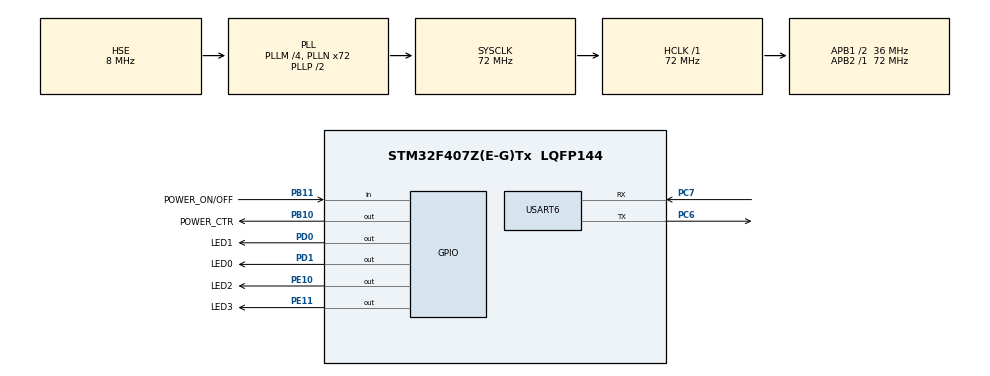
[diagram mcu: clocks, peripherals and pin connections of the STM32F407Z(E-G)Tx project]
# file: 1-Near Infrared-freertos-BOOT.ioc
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FREERTOS.Tasks01=LED_Task,-3,128,Start_LED_Task,Default,NULL,Dynamic,NULL,NULL;PWR_Task,0,128,Start_PWR_Task,Default,NULL,Dynamic,NULL,NULL;BOOT_Task,-1,128,Start_BOOT_Task,Default,NULL,Dynamic,NULL,NULL
Mcu.Family=STM32F4
Mcu.Name=STM32F407Z(E-G)Tx
Mcu.Package=LQFP144
NVIC.PriorityGroup=NVIC_PRIORITYGROUP_4
NVIC.TIM7_IRQn=true\:15\:0\:false\:false\:true\:false\:false\:true
NVIC.TimeBase=TIM7_IRQn
NVIC.TimeBaseIP=TIM7
NVIC.USART6_IRQn=true\:5\:0\:true\:false\:true\:true\:true\:true
PA13.Mode=Serial_Wire
PA13.Signal=SYS_JTMS-SWDIO
PA14.Mode=Serial_Wire
PA14.Signal=SYS_JTCK-SWCLK
PB10.GPIO_Label=POWER_CTR
PB10.GPIO_PuPd=GPIO_PULLDOWN
PB10.GPIO_Speed=GPIO_SPEED_FREQ_HIGH
PB10.PinState=GPIO_PIN_RESET
PB10.Signal=GPIO_Output
PB11.GPIO_Label=POWER_ON/OFF
PB11.GPIO_PuPd=GPIO_PULLUP
PB11.Signal=GPIO_Input
PC6.Mode=Asynchronous
PC6.Signal=USART6_TX
PC7.Mode=Asynchronous
PC7.Signal=USART6_RX
PD0.GPIO_Label=LED1
PD0.GPIO_PuPd=GPIO_PULLUP
PD0.GPIO_Speed=GPIO_SPEED_FREQ_HIGH
PD0.PinState=GPIO_PIN_SET
PD0.Signal=GPIO_Output
PD1.GPIO_Label=LED0
PD1.GPIO_PuPd=GPIO_PULLUP
PD1.GPIO_Speed=GPIO_SPEED_FREQ_HIGH
PD1.PinState=GPIO_PIN_SET
PD1.Signal=GPIO_Output
PE10.GPIO_Label=LED2
PE10.GPIO_PuPd=GPIO_PULLUP
PE10.GPIO_Speed=GPIO_SPEED_FREQ_HIGH
PE10.PinState=GPIO_PIN_SET
PE10.Signal=GPIO_Output
PE11.GPIO_Label=LED3
PE11.GPIO_PuPd=GPIO_PULLUP
PE11.GPIO_Speed=GPIO_SPEED_FREQ_HIGH
PE11.PinState=GPIO_PIN_SET
PE11.Signal=GPIO_Output
PH0-OSC_IN.Mode=HSE-External-Oscillator
PH0-OSC_IN.Signal=RCC_OSC_IN
PH1-OSC_OUT.Mode=HSE-External-Oscillator
PH1-OSC_OUT.Signal=RCC_OSC_OUT
ProjectManager.HeapSize=0x200
ProjectManager.StackSize=0x400
ProjectManager.TargetToolchain=MDK-ARM V5.32
RCC.48MHZClocksFreq_Value=36000000
RCC.AHBFreq_Value=72000000
RCC.APB1CLKDivider=RCC_HCLK_DIV2
RCC.APB1Freq_Value=36000000
RCC.APB1TimFreq_Value=72000000
RCC.APB2Freq_Value=72000000
RCC.APB2TimFreq_Value=72000000
RCC.CortexFreq_Value=72000000
RCC.HCLKFreq_Value=72000000
RCC.HSE_VALUE=8000000
RCC.HSI_VALUE=16000000
RCC.LSE_VALUE=32768
RCC.PLLM=4
RCC.PLLN=72
RCC.PLLSourceVirtual=RCC_PLLSOURCE_HSE
RCC.SYSCLKFreq_VALUE=72000000
RCC.SYSCLKSource=RCC_SYSCLKSOURCE_PLLCLK
RCC.VCOOutputFreq_Value=144000000
USART6.VirtualMode=VM_ASYNC
VP_FREERTOS_VS_CMSIS_V1.Mode=CMSIS_V1
VP_SYS_VS_tim7.Mode=TIM7
board=custom

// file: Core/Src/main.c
/* USER CODE BEGIN Header */
/**
  ******************************************************************************
  * @file           : main.c
  * @brief          : Main program body
  ******************************************************************************
  * @attention
  *
  * Copyright (c) 2024 STMicroelectronics.
  * All rights reserved.
  *
  * This software is licensed under terms that can be found in the LICENSE file
  * in the root directory of this software component.
  * If no LICENSE file comes with this software, it is provided AS-IS.
  *
  ******************************************************************************
  */
/* USER CODE END Header */
#include "main.h"
#include "cmsis_os.h"
#include "usart.h"
#include "gpio.h"

/* USER CODE BEGIN Includes */
#include <string.h>
#include <stdio.h>
#include "sys.h"

/* USER CODE END Includes */

void SystemClock_Config(void);
void MX_FREERTOS_Init(void);

/* USER CODE BEGIN 0 */

#define NVIC_VectTab_RAM             ((uint32_t)0x20000000)
#define NVIC_VectTab_FLASH           ((uint32_t)0x08000000)				//NVIC_VectTab_FLASH定义的是flash的起始地址；
#define BOOT_SIZE							0x5000						//正好对应着第一个扇区开始擦除。
#define ApplicationAddress	0x08005000

#define USER_FLASH_PAGES	2      //user app flash is 52 PAGE      两个扇区

#define FLASH_USER_END_ADDR    ADDR_FLASH_SECTOR_3

#define	erasure_CMD	"era flash"

typedef  void (*iapfun)(void);
iapfun jump2app;

unsigned int count2 = 0;
unsigned char datatemp[256] = {0};
unsigned char boot_flag = 0;
unsigned char time_out_flag = 0;
extern uint8_t ch;

#define ADDR_FLASH_SECTOR_0     ((uint32_t)0x08000000) /* Base address of Sector 0, 16 Kbytes   */
#define ADDR_FLASH_SECTOR_1     ((uint32_t)0x08004000) /* Base address of Sector 1, 16 Kbytes   */
#define ADDR_FLASH_SECTOR_2     ((uint32_t)0x08008000) /* Base address of Sector 2, 16 Kbytes   */
#define ADDR_FLASH_SECTOR_3     ((uint32_t)0x0800C000) /* Base address of Sector 3, 16 Kbytes   */
#define ADDR_FLASH_SECTOR_4     ((uint32_t)0x08010000) /* Base address of Sector 4, 64 Kbytes   */
#define ADDR_FLASH_SECTOR_5     ((uint32_t)0x08020000) /* Base address of Sector 5, 128 Kbytes  */
#define ADDR_FLASH_SECTOR_6     ((uint32_t)0x08040000) /* Base address of Sector 6, 128 Kbytes  */
#define ADDR_FLASH_SECTOR_7     ((uint32_t)0x08060000) /* Base address of Sector 7, 128 Kbytes  */

/* USER CODE END 0 */

int main(void)
{
    /* USER CODE BEGIN 1 */
	unsigned char i;

    /* USER CODE END 1 */

    /* MCU Configuration--------------------------------------------------------*/

    /* Reset of all peripherals, Initializes the Flash interface and the Systick. */
    HAL_Init();

    /* Configure the system clock */
    SystemClock_Config();

    /* Initialize all configured peripherals */
    MX_GPIO_Init();
    MX_USART6_UART_Init();
    /* USER CODE BEGIN 2 */
    HAL_GPIO_WritePin(POWER_CTR_GPIO_Port,POWER_CTR_Pin,GPIO_PIN_SET);//上电把电源的控制角拉高。
    printf("boot start\r\n");
    printf("input \"era flash\" to erasure user flash, or wait 10s to start user app\r\n");
    HAL_Delay(500);//延迟个500Ms进入freertos系统中。

	for(i = 0; i<10; i++)
    {
        HAL_UART_Receive(&huart6, datatemp, 256, 1000);
//		WRITE_REG(huart6.Instance->DR,datatemp);
//		HAL_UART_Transmit(&huart6, datatemp, 256, 1000);

        // every second to find if receive erasure_CMD

        if(strstr((const char *)datatemp, erasure_CMD) != NULL)
        {
			printf("%s",datatemp);
			printf("准备擦除芯片的内部flash中。。。");
            // erase flash
            FLASH_EraseInitTypeDef EraseInitStruct;
            unsigned int PageError = 0;

            HAL_FLASH_Unlock();

            EraseInitStruct.TypeErase = FLASH_TYPEERASE_SECTORS;
            EraseInitStruct.Sector = 1;//开始的扇区
            EraseInitStruct.NbSectors = USER_FLASH_PAGES;//几个扇区
            EraseInitStruct.VoltageRange = FLASH_VOLTAGE_RANGE_3;
            if(HAL_FLASHEx_Erase(&EraseInitStruct, &PageError) != HAL_OK)
            {
                HAL_FLASH_Lock();
                printf("Erase fail at:0x%x\n\r",PageError);
//                return 0;
            }
            HAL_FLASH_Lock();
            boot_flag = 1;
            printf("Erase OK\n\r");
            break;
        }
    }

    if(boot_flag == 1)
    {
        HAL_StatusTypeDef	temp;
        unsigned int Address;
        unsigned int data_32;
        unsigned char j = 0;
        printf("ready to receive bin, please send in 30s\n\r");
        Address = ApplicationAddress;
        temp = HAL_UART_Receive(&huart6, datatemp, 256, 30*1000);
        if(temp == HAL_TIMEOUT)
        {
            printf("time out, end wait to receive bin\n\r");
//            return 0;
        }
        else if(temp == HAL_OK)
        {
            while(1) // wait data and write, if time out tow times, break;
            {
                unsigned char i;
                HAL_FLASH_Unlock();
                for(i=0; i<64; i++)
                {
                    data_32 = *(unsigned int *)(&datatemp[i<<2]);
                    if(Address < FLASH_USER_END_ADDR)
                    {
                        if(HAL_FLASH_Program(FLASH_TYPEPROGRAM_WORD, Address, data_32)==HAL_OK)
                        {
                            Address = Address + 4;
                        }
                        else
                        {
                            HAL_FLASH_Lock();
                            printf("write fail at: 0x%x\n\r", Address);
//                            return 0;
                        }
                    }
                }
                HAL_FLASH_Lock();
                printf("write 256 btye OK: 0x%x\t%d\n\r",Address,j++);

                temp = HAL_UART_Receive(&huart6, datatemp, 256, 2*1000);
                if(temp == HAL_TIMEOUT)
                {
                    time_out_flag++;
                    if(time_out_flag == 2)
                    {
                        printf("End write OK\n\r");
//						HAL_NVIC_SystemReset();
                        goto START_APP;

                        //return 0;
                    }
                }
            }
        }
    }

    else if(boot_flag == 0)  //start user app
    {
		START_APP:
        printf("start user app\n\r");
//        HAL_Delay(10);

        if(((*(unsigned int *)ApplicationAddress)&0x2FFE0000)==0x20000000)
        {
//            __set_PRIMASK(1);
//            __ASM("CPSID  I"); // disable irq, if use this, must enable irq at app
////            __disable_irq();
////			SysTick->CTRL = 0X00;//禁止SysTick
////			SysTick->LOAD = 0;
////			SysTick->VAL = 0;
//			__disable_irq();

//			__set_PRIMASK(1);    /*关闭全局中断，APP程序中带有RTOS时，这个很重要*/

			/* 关闭滴答时钟，复位*/
//			SysTick->CTRL = 0;
//			SysTick->LOAD = 0;
//			SysTick->VAL = 0;
//			HAL_SuspendTick();        // 挂起滴答定时器
			/* 设置所以时钟默认状态 */
//			HAL_RCC_DeInit();

			/* 关闭所有中断，清除中断挂起标志 */
//			for (i = 0; i < 8; i++)
//			{
//				NVIC->ICER[i]=0xFFFFFFFF;
//				NVIC->ICPR[i]=0xFFFFFFFF;
//			}
//			HAL_UART_DeInit(&huart1);
//			HAL_UART_DeInit(&huart6);
//			HAL_SuspendTick();

//			HAL_RCC_DeInit();
//			__set_FAULTMASK(1);
//			INTX_DISABLE();
	   /* 在 RTOS 工程，这条语句很重要，设置为特权级模式，使用 MSP 指针 */
//			__set_CONTROL(0);

//            jump2app=(iapfun)*(unsigned int *)(ApplicationAddress+4);
            // user app addr's second word store the app start addr
//            __set_MSP(*(unsigned int *)ApplicationAddress);
            //user app addr's first word store the SP addr
//			printf("开始跳转APP\n\r");
//			__disable_irq();

//            jump2app();									// run user app
//			printf("跳转完成\n\r");

//			SysTick->CTRL = 0X00;//禁止SysTick
//			SysTick->LOAD = 0;
//			SysTick->VAL = 0;
//			__disable_irq();

				uint32_t i=0;
				void (*SysMemBootJump)(void);        /* 声明一个函数指针 */
				__IO uint32_t BootAddr = 0x08005000;  /* APP 地址 */

//				__set_PRIMASK(1);	/* 禁止全局中断 */

				/* 关闭滴答定时器，复位到默认值 */
				SysTick->CTRL = 0;
				SysTick->LOAD = 0;
				SysTick->VAL = 0;
				/* 设置所有时钟到默认状态，使用HSI时钟 */
				HAL_RCC_DeInit();//关闭时钟这一步不能省掉。
				HAL_UART_DeInit(&huart6);//还需要关闭所有的外设。
//				__HAL_UART_DISABLE_IT(&huart6,UART_IT_RXNE);
//				HAL_GPIO_DeInit(LED0_GPIO_Port,LED0_Pin);//这些GOIO，可以不用关掉。
//				HAL_GPIO_DeInit(LED1_GPIO_Port,LED1_Pin);
//				HAL_GPIO_DeInit(LED2_GPIO_Port,LED2_Pin);
//				HAL_GPIO_DeInit(LED3_GPIO_Port,LED3_Pin);
//				HAL_GPIO_DeInit(POWER_CTR_GPIO_Port,POWER_CTR_Pin);
//				HAL_GPIO_DeInit(POWER_ON_OFF_GPIO_Port,POWER_ON_OFF_Pin);
//				HAL_TIM_Base_DeInit(&htim4);

				/* 关闭所有中断，清除所有中断挂起标志 */
				for (i = 0; i < 8; i++)
				{
					NVIC->ICER[i]=0xFFFFFFFF;
					NVIC->ICPR[i]=0xFFFFFFFF;
				}

//				__set_PRIMASK(0);	/* 使能全局中断 */

				SysMemBootJump = (void (*)(void)) (*((uint32_t *) (BootAddr + 4)));

				__set_MSP(*(uint32_t *)BootAddr);

			/* 在RTOS工程，这条语句很重要，设置为特权级模式，使用MSP指针 */
				__set_CONTROL(0);

//			jump2app=(iapfun)*(vu32*)(ApplicationAddress+4);		//用户代码区第二个字为程序开始地址(复位地址)
//			MSR_MSP(*(vu32*)ApplicationAddress);					//初始化APP堆栈指针(用户代码区的第一个字用于存放栈顶地址)
			printf("准备跳转APP\r\n");
			SysMemBootJump();									//跳转到APP.
        }
        else
        {
            printf("no user app\r\n");
//            return 0;
        }
    }

    /* USER CODE END 2 */

    /* Call init function for freertos objects (in freertos.c) */
    MX_FREERTOS_Init();
    /* Start scheduler */
    osKernelStart();

    /* We should never get here as control is now taken by the scheduler */
    /* Infinite loop */
    while (1)
    {

    }
}

void SystemClock_Config(void)
{
    RCC_OscInitTypeDef RCC_OscInitStruct = {0};
    RCC_ClkInitTypeDef RCC_ClkInitStruct = {0};

    /** Configure the main internal regulator output voltage
    */
    __HAL_RCC_PWR_CLK_ENABLE();
    __HAL_PWR_VOLTAGESCALING_CONFIG(PWR_REGULATOR_VOLTAGE_SCALE1);
    /** Initializes the RCC Oscillators according to the specified parameters
    * in the RCC_OscInitTypeDef structure.
    */
    RCC_OscInitStruct.OscillatorType = RCC_OSCILLATORTYPE_HSE;
    RCC_OscInitStruct.HSEState = RCC_HSE_ON;
    RCC_OscInitStruct.PLL.PLLState = RCC_PLL_ON;
    RCC_OscInitStruct.PLL.PLLSource = RCC_PLLSOURCE_HSE;
    RCC_OscInitStruct.PLL.PLLM = 4;
    RCC_OscInitStruct.PLL.PLLN = 72;
    RCC_OscInitStruct.PLL.PLLP = RCC_PLLP_DIV2;
    RCC_OscInitStruct.PLL.PLLQ = 4;
    if (HAL_RCC_OscConfig(&RCC_OscInitStruct) != HAL_OK)
    {
        Error_Handler();
    }
    /** Initializes the CPU, AHB and APB buses clocks
    */
    RCC_ClkInitStruct.ClockType = RCC_CLOCKTYPE_HCLK|RCC_CLOCKTYPE_SYSCLK
                                  |RCC_CLOCKTYPE_PCLK1|RCC_CLOCKTYPE_PCLK2;
    RCC_ClkInitStruct.SYSCLKSource = RCC_SYSCLKSOURCE_PLLCLK;
    RCC_ClkInitStruct.AHBCLKDivider = RCC_SYSCLK_DIV1;
    RCC_ClkInitStruct.APB1CLKDivider = RCC_HCLK_DIV2;
    RCC_ClkInitStruct.APB2CLKDivider = RCC_HCLK_DIV1;

    if (HAL_RCC_ClockConfig(&RCC_ClkInitStruct, FLASH_LATENCY_2) != HAL_OK)
    {
        Error_Handler();
    }
}

void HAL_TIM_PeriodElapsedCallback(TIM_HandleTypeDef *htim)
{
    if (htim->Instance == TIM7) {
        HAL_IncTick();
    }
}

void Error_Handler(void)
{
    __disable_irq();
    while (1)
    {
    }
}

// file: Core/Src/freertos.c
/* USER CODE BEGIN Header */
/**
  ******************************************************************************
  * File Name          : freertos.c
  * Description        : Code for freertos applications
  ******************************************************************************
  * @attention
  *
  * Copyright (c) 2024 STMicroelectronics.
  * All rights reserved.
  *
  * This software is licensed under terms that can be found in the LICENSE file
  * in the root directory of this software component.
  * If no LICENSE file comes with this software, it is provided AS-IS.
  *
  ******************************************************************************
  */
/* USER CODE END Header */

#include "FreeRTOS.h"
#include "task.h"
#include "main.h"
#include "cmsis_os.h"

/* USER CODE BEGIN Includes */
#include "PWR_ON_OFF.h"
#include <string.h>
#include <stdio.h>
#include "usart.h"

/* USER CODE END Includes */

/* USER CODE BEGIN PTD */
//uint8_t res;

/* USER CODE END PTD */

osThreadId LED_TaskHandle;
osThreadId PWR_TaskHandle;
osThreadId BOOT_TaskHandle;

void Start_LED_Task(void const * argument);
void Start_PWR_Task(void const * argument);
void Start_BOOT_Task(void const * argument);

void MX_FREERTOS_Init(void); /* (MISRA C 2004 rule 8.1) */

/* GetIdleTaskMemory prototype (linked to static allocation support) */
void vApplicationGetIdleTaskMemory( StaticTask_t **ppxIdleTaskTCBBuffer, StackType_t **ppxIdleTaskStackBuffer, uint32_t *pulIdleTaskStackSize );

/* USER CODE BEGIN GET_IDLE_TASK_MEMORY */
static StaticTask_t xIdleTaskTCBBuffer;
static StackType_t xIdleStack[configMINIMAL_STACK_SIZE];

void vApplicationGetIdleTaskMemory( StaticTask_t **ppxIdleTaskTCBBuffer, StackType_t **ppxIdleTaskStackBuffer, uint32_t *pulIdleTaskStackSize )
{
  *ppxIdleTaskTCBBuffer = &xIdleTaskTCBBuffer;
  *ppxIdleTaskStackBuffer = &xIdleStack[0];
  *pulIdleTaskStackSize = configMINIMAL_STACK_SIZE;
  /* place for user code */
}
/* USER CODE END GET_IDLE_TASK_MEMORY */

void MX_FREERTOS_Init(void) {

  /* Create the thread(s) */
  /* definition and creation of LED_Task */
  osThreadDef(LED_Task, Start_LED_Task, osPriorityIdle, 0, 128);
  LED_TaskHandle = osThreadCreate(osThread(LED_Task), NULL);

  /* definition and creation of PWR_Task */
  osThreadDef(PWR_Task, Start_PWR_Task, osPriorityNormal, 0, 128);
  PWR_TaskHandle = osThreadCreate(osThread(PWR_Task), NULL);

  /* definition and creation of BOOT_Task */
  osThreadDef(BOOT_Task, Start_BOOT_Task, osPriorityBelowNormal, 0, 128);
  BOOT_TaskHandle = osThreadCreate(osThread(BOOT_Task), NULL);

}

void Start_LED_Task(void const * argument)
{
  /* USER CODE BEGIN Start_LED_Task */
  /* Infinite loop */
  for(;;)
  {
	  HAL_GPIO_TogglePin(LED0_GPIO_Port,LED0_Pin);
	  HAL_GPIO_TogglePin(LED1_GPIO_Port,LED1_Pin);
	  osDelay(500);
  }
  /* USER CODE END Start_LED_Task */
}

void Start_PWR_Task(void const * argument)
{
  /* USER CODE BEGIN Start_PWR_Task */
  /* Infinite loop */
  for(;;)
  {
	  PWR_ON_OFF();//关机操作。
      osDelay(20);
  }
  /* USER CODE END Start_PWR_Task */
}

void Start_BOOT_Task(void const * argument)
{
  /* USER CODE BEGIN Start_BOOT_Task */
  /* Infinite loop */
  for(;;)
  {
//	  HAL_UART_Receive(&huart6, (uint8_t *)&res, 100, 100);
//	  printf("这是一个BOOT的实验！！！");
	  osDelay(100);
  }
  /* USER CODE END Start_BOOT_Task */
}
